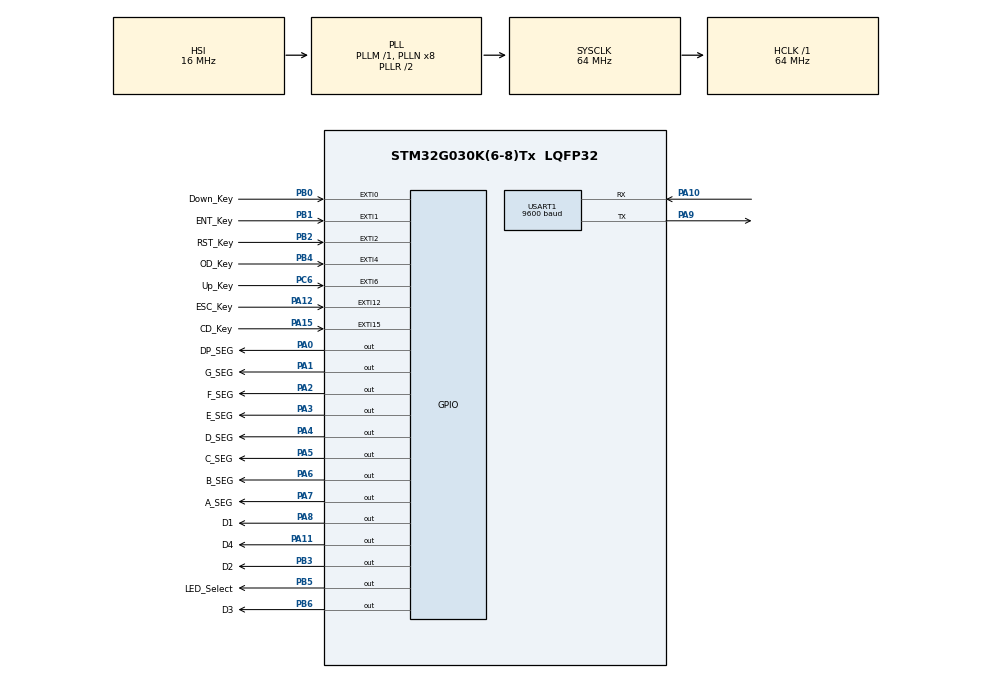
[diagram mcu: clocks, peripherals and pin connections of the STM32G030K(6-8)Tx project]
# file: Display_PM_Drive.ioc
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Mcu.Family=STM32G0
Mcu.Name=STM32G030K(6-8)Tx
Mcu.Package=LQFP32
NVIC.EXTI0_1_IRQn=true\:1\:0\:true\:false\:true\:true\:true\:true
NVIC.EXTI2_3_IRQn=true\:1\:0\:true\:false\:true\:true\:true\:true
NVIC.EXTI4_15_IRQn=true\:1\:0\:true\:false\:true\:true\:true\:true
NVIC.TIM14_IRQn=true\:0\:0\:false\:false\:true\:true\:true\:true
NVIC.TIM1_BRK_UP_TRG_COM_IRQn=true\:1\:0\:true\:false\:true\:true\:true\:true
NVIC.USART1_IRQn=true\:0\:0\:false\:false\:true\:true\:true\:true
PA0.GPIO_Label=DP_SEG
PA0.Signal=GPIO_Output
PA1.GPIO_Label=G_SEG
PA1.Signal=GPIO_Output
PA10.Mode=Asynchronous
PA10.Signal=USART1_RX
PA11\ [PA9].GPIO_Label=D4
PA11\ [PA9].Signal=GPIO_Output
PA12\ [PA10].GPIO_Label=ESC_Key
PA12\ [PA10].GPIO_ModeDefaultEXTI=GPIO_MODE_IT_FALLING
PA12\ [PA10].Signal=GPXTI12
PA13.Mode=Serial_Wire
PA13.Signal=SYS_SWDIO
PA14-BOOT0.Mode=Serial_Wire
PA14-BOOT0.Signal=SYS_SWCLK
PA15.GPIO_Label=CD_Key
PA15.GPIO_ModeDefaultEXTI=GPIO_MODE_IT_FALLING
PA15.GPIO_PuPd=GPIO_PULLUP
PA15.Signal=GPXTI15
PA2.GPIO_Label=F_SEG
PA2.Signal=GPIO_Output
PA3.GPIO_Label=E_SEG
PA3.Signal=GPIO_Output
PA4.GPIO_Label=D_SEG
PA4.Signal=GPIO_Output
PA5.GPIO_Label=C_SEG
PA5.Signal=GPIO_Output
PA6.GPIO_Label=B_SEG
PA6.Signal=GPIO_Output
PA7.GPIO_Label=A_SEG
PA7.GPIO_ModeDefaultOutputPP=GPIO_MODE_OUTPUT_OD
PA7.GPIO_PuPd=GPIO_NOPULL
PA7.GPIO_Speed=GPIO_SPEED_FREQ_HIGH
PA7.Signal=GPIO_Output
PA8.GPIO_Label=D1
PA8.Signal=GPIO_Output
PA9.Mode=Asynchronous
PA9.Signal=USART1_TX
PB0.GPIO_Label=Down_Key
PB0.GPIO_ModeDefaultEXTI=GPIO_MODE_IT_FALLING
PB0.Signal=GPXTI0
PB1.GPIO_Label=ENT_Key
PB1.GPIO_ModeDefaultEXTI=GPIO_MODE_IT_FALLING
PB1.Signal=GPXTI1
PB2.GPIO_Label=RST_Key
PB2.GPIO_ModeDefaultEXTI=GPIO_MODE_IT_FALLING
PB2.Signal=GPXTI2
PB3.GPIO_Label=D2
PB3.Signal=GPIO_Output
PB4.GPIO_Label=OD_Key
PB4.GPIO_ModeDefaultEXTI=GPIO_MODE_IT_FALLING
PB4.GPIO_PuPd=GPIO_PULLUP
PB4.Signal=GPXTI4
PB5.GPIO_Label=LED_Select
PB5.Signal=GPIO_Output
PB6.GPIO_Label=D3
PB6.Signal=GPIO_Output
PB8.Signal=I2C1_SCL
PC6.GPIO_Label=Up_Key
PC6.GPIO_ModeDefaultEXTI=GPIO_MODE_IT_FALLING
PC6.GPIO_PuPd=GPIO_PULLUP
PC6.Signal=GPXTI6
ProjectManager.HeapSize=0x200
ProjectManager.StackSize=0x400
ProjectManager.TargetToolchain=MDK-ARM V5.32
RCC.ADCFreq_Value=64000000
RCC.AHBFreq_Value=64000000
RCC.CortexFreq_Value=64000000
RCC.EXTERNAL_CLOCK_VALUE=12288000
RCC.HCLKFreq_Value=64000000
RCC.HSE_VALUE=8000000
RCC.HSI_VALUE=16000000
RCC.LSE_VALUE=32768
RCC.SYSCLKFreq_VALUE=64000000
RCC.SYSCLKSource=RCC_SYSCLKSOURCE_PLLCLK
RCC.VCOOutputFreq_Value=128000000
TIM1.AutoReloadPreload=TIM_AUTORELOAD_PRELOAD_ENABLE
TIM1.Period=6399
TIM1.Prescaler=999
TIM14.AutoReloadPreload=TIM_AUTORELOAD_PRELOAD_ENABLE
TIM14.Period=6399
TIM14.Prescaler=999
USART1.BaudRate=9600
USART1.Parity=PARITY_NONE
USART1.VirtualMode-Asynchronous=VM_ASYNC
VP_TIM14_VS_ClockSourceINT.Mode=Enable_Timer
VP_TIM1_VS_ClockSourceINT.Mode=Internal
board=custom

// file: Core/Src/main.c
/* USER CODE BEGIN Header */
/**
  ******************************************************************************
  * @file           : main.c
  * @brief          : Main program body
  ******************************************************************************
  * @attention
  *
  * Copyright (c) 2024 STMicroelectronics.
  * All rights reserved.
  *
  * This software is licensed under terms that can be found in the LICENSE file
  * in the root directory of this software component.
  * If no LICENSE file comes with this software, it is provided AS-IS.
  *
  ******************************************************************************
  */
/* USER CODE END Header */
#include "main.h"

/* USER CODE BEGIN Includes */
#include "stm32G0xx_hal_gpio.h"
#include "Display.h"
#include "Store_Flash.h"
#include "Menu.h"

#define Lock_ADV 200                  				// Lock time is according to Timer 100ms : Ex: 150*100ms= 15000ms = 15s
#define Enter_Manual_Time 30          				// Entering manual mode or tuning mode is deppended on the Timer 100ms : Ex: 30*100ms= 3000ms = 3s
#define Back_To_First_After_Time 100  				// Entering manual mode or tuning mode is deppended on the Timer 100ms : Ex: 100*100ms= 10000ms = 3s
#define RST_Time 30
extern uint8_t Number_OF_Settings;
//---------------------------------- Reserve in Flash
extern uint8_t Byte_1_Device_Mode;
//----------------------------------
extern char Default_Flash_Array[255];					 // Coefficients for Defualt : when you program your device for the first, we would have 'Default_Flash_Array' coefficients on RAM and FLASH
char Commercial_Flash_Array[255];    				   // Coefficients for Commercial
char Household_Flash_Array[255];     					 // Coefficients for Household
char Office_Flash_Array[255]={0x01};  				 // Coefficients for Office
//bool Reset_To_Default_Value=0;

bool Reset_To_Default_Value=0;
//-------------------------------------------------------
//----------------------------- Reserve in Flash
//-------------------------------------------------------
#define Byte_1_Setup 0xFF                       // ItТs an address in RAM, and it is used to set up the device.
uint8_t Byte_1_Manual_Mode=0xFE;						    // It's a setting address for Manual mode
#define Byte_1_OK_Received 0xFD							    // It's a setting receving aknowledge
#define Byte_1_Receive_Data_Main_Board 0xFC     // It's a setting address for receving Data through mainboard
#define Byte_1_Reset_LCD 0xFB                   // It's a setting address for Reset LCD
//-------------------------------------------------------
//----------------------------- Read/Write Flash Variable
//-------------------------------------------------------
uint32_t addr = FLASH_USER_START_ADDR;          // Start address in flash memory :It's for storagind coefficients
char Read_Array_Flash[255];											// It's coefficients array
uint8_t Array_Flash_Counter=0;									// It's for counting coefficient's index
//-------------------------------------------------------
//----------------------------- UART Variables
//-------------------------------------------------------
uint8_t byte;
#define  Length_Frame 11
char buffer[Length_Frame];                 			//It's for printf Function in UART.
uint8_t  arr_frame[Length_Frame];							  //This array use for Storge valid bytes that sent from master device.
int  frame_counter=0;						           			//It's for counting bytes received from UART that they are valid for making Frame.
bool block_Counter_frame=0;			           		  //It's for checking start of frame "0xAA";
int  clear_counter_Frame=0;                     //It's for clearing "arr_frame";
uint8_t Value_Res1;                             //This variable is used for sending data on UART
uint8_t Byte_1_Start_Frame=0xAA;                //Setting Byte: Start Frame 1
uint8_t Byte_2_Start_Frame=0xBB;                //Setting Byte: Start Frame 2
uint8_t Byte_1_END_Frame=0xEE;               	  //Setting Byte: End Frame 1
uint8_t Byte_2_END_Frame=0xFF;                	//Setting Byte: End Frame 2
uint8_t Byte_1_Read_Frame=0xCC;                 //Setting Byte: Read Frame
uint8_t Byte_1_Write_Frame=0xDD;                //Setting Byte: Write Frame
bool Serial_Available=0;									      //show UART is available or not
bool Serial_Repeat=0;											      //It's a Flag for Enabling repeat_serial
uint8_t  Seial_Repeat_arr_frame[Length_Frame];	//repeat's fream
bool Repeat_Time=0;															//It's for controling time of blinking
uint8_t Number_Repeat_Serial=0;                 //Number of repeat for sending frame
bool Lock_System=0;															//Arrow keys would be out of reach when this variable set 1
bool Transmision_Flag=0;												//This variable use for blocking sending Data

uint8_t Counter_Reset_system=9;									//Reset system after 9 second
uint8_t Counter_Devide_10=0;                     // It is used to divide time in the timer loop.

uint8_t Repeat_time_Serial=0;
//-------------------------------------------------------
//----------------------------- Keys&Menu Variable
//-------------------------------------------------------
Menu_HandleTypeDef PM_Menu;
uint8_t Menu_ESC=0;															// It would be 1 if we press ESC
uint8_t Menu_ENT=0;															// It would be 1 if we press ENT
uint8_t Menu_Down=0;														// It would be 1 if we press Down
uint8_t Menu_Up=0;															// It would be 1 if we press Up
uint8_t Menu_Reset=0;														// It would be 1 if we press Reset
extern int Value;																// It's for showing value on LCD or deciding about settings
int Fault_Vector=0;															// Reserve
bool Menu_CD=0;																	// It would be 1 if we press CD Key
bool Menu_OD=0;																	// It would be 1 if we press OD Key
int Counter_CD_Key=0;														// It whould be increase when you press and hold "CD Key"
int Counter_OD_Key=0;														// It whould be increase when you press and hold "CD Key"
int Counter_ENT_Key=0;													// It whould be increase when you press and hold "ENT Key"
int Counter_RST_Key=0;													// It whould be increase when you press and hold "RST Key"
bool Manual_mode=0;															// It whould be one when you enter manual mode
uint8_t Counter_UP_Key=0;												// It whould be increase when you press and hold "UP Key"
uint8_t Counter_Down_Key=0;											// It whould be increase when you press "Down Key"
uint8_t Counter_ESC_Key=0;											// It whould be increase when you press and hold "ESC Key"
uint8_t Step_Speed=0;														// It whould be increase when you press and hold on a key : we have 3 steps for increasing count's speed
uint8_t Counter_Change_Value=0;                 // It is used for changing Steps when we press up or down keys and hold on
uint8_t Counter_Key_Hold=0;											// It is used for calculating time when we press Up or down key and hold on
bool Lock_Counter_Key=1;												// Changing the count's speed and changing steps would be locked if this flag set to 1
extern bool Reset_Menu;													// We can reset everything in the menu if this flag set to 1
bool Lock_LCD=0;																// Nothing shows on the LCD if this flag is set to 1
bool Flag_OK_Setup=0;														// It would be 1 if the flash is set up
//-------------------------------------------------------
//----------------------------- Save Process Variables
//-------------------------------------------------------
bool Toggle_Sevensegment=0;										  // This variable is used for toggle LED segments when we are in save mode.
uint8_t Counter_Toggle_Sevensegment=0; 				  // We can control blinking time with this counter
extern uint8_t setting; 						  					// Coefficient array's Index
//-------------------------------------------------------
//----------------------------- Check Manual mode Variables
//-------------------------------------------------------
uint8_t Counter_Back_to_Norm=0;                 // When we are in advanced mode and we don't press any key, the menu would back to first menu after "Back_To_First_After_Time" time
bool Tune_Mode=0;                               // It would be 1 if tune mode is enabled
uint8_t Byte_1_OD_Mode=0x01;										// It's a special value when we are in manual mode if you want to have more information, please refer to the protocols document
uint8_t Byte_1_CD_Mode=0x02;										// It's a special value when we are in manual mode if you want to have more information, please refer to the protocols document
uint8_t Byte_1_Tune_Mode=0x03;									// It's a special value when we are in manual mode if you want to have more information, please refer to the protocols document
uint8_t Byte_1_Normal_Mode=0x04;								// It's a special value when we are in manual mode if you want to have more information, please refer to the protocols document
bool Flag_Show_Auto=0;													// When you press the ESC key when you are in manual mode, the device exit manual mode and show "Auto" on seven-segment.
bool Flag_Show_OD=0;                            // When you press the OD key, 'OD' shows on the seven-segment display, and we enter manual mode.
bool Flag_Show_CD=0;														// When you press the CD key, 'OD' shows on the seven-segment display, and we enter manual mode.
uint8_t Counter_Auto_Show=0;										// It's a counter for showing "Auto" on seven-segment when we press ESC key
//-------------------------------------------------------
//----------------------------- Password Variable
//-------------------------------------------------------
extern bool check_Pass;													// It's a flag for validating the password
uint8_t Counter_Lock_Pass=0;										// Advance would be lock after a special time
bool Flag_Lock_Pass_Show=0;                     // It's a flag for locking the advanced mode
//-------------------------------------------------------
//----------------------------- Screen saver Variable
//-------------------------------------------------------
#define Travel_Byte_1_main 0x55                 // Setting Byte: For illustrating the Travel state on LCD, the main board has to send this value as a setting
#define Fault_Byte_1_main 0x77									// Setting Byte: For illustrating the Fault state on LCD, the main board has to send this value as a setting
char Show_Variable[4];													// Illustrating values on screen saver when value are sended through mainborad
bool Flag_Screen_Saver=0;												// It's a flag for enabeling sacreen saver
uint8_t Screen_Number=0;												// It's a value for selecting travel state or fault state that recieved through mainboard
uint8_t Counter_Time_Screen_Saver=0;						// It's a time counter for sceern saver: It would be 0 if we push keys
bool Flag_Repeat_Off=0;													// Sending repeat data would be off if this flag set to 1
//-------------------------------------------------------
//----------------------------- Wating
//-------------------------------------------------------
bool Flag_System_Waitng=0;                      // when system  has a special duty at the moment like sending frame or receiving frame, this flag would be 1
bool Flag_Load_Data=0;
uint8_t Counter_Wating=0;                       // ItТs used to calculate the time needed to return to normal mode.
uint8_t Counter_Wating_Show=0;                  /* When the device connects to the mainboard, the mainboard starts sending data to provide coefficients.
																									 At this time, the device enters waiting mode to respond to each request. The waiting time is calculated
																									 through 'Counter_Waiting_Show'. Additionally, we have five LEDs to indicate the loading of all data on
																									 the mainboard. These LEDs will turn on after a specific time, which is determined by 'Counter_Waiting_Show'. */
//-------------------------------------------------------
//----------------------------- CRC Variable
//-------------------------------------------------------
uint8_t CRC_Value;                              //CRC= summation(All Coefficient)%97
/* USER CODE END Includes */

TIM_HandleTypeDef htim1;
TIM_HandleTypeDef htim14;

UART_HandleTypeDef huart1;

void SystemClock_Config(void);
static void MX_GPIO_Init(void);
static void MX_TIM1_Init(void);
static void MX_USART1_UART_Init(void);
static void MX_TIM14_Init(void);
/* USER CODE BEGIN PFP */
//------------------------------------------------------------------------------------------ Welcome
void Welcome_Seg(void){
	uint8_t Delay_welcome=50;
	Select_Segment(1);
	Show_Segment('a');
	HAL_Delay(Delay_welcome);
	Select_Segment(2);
	Show_Segment('a');
	HAL_Delay(Delay_welcome);
	Select_Segment(3);
	Show_Segment('a');
	HAL_Delay(Delay_welcome);
	Select_Segment(4);
	Show_Segment('a');
	HAL_Delay(Delay_welcome);
	Select_Segment(4);
	Show_Segment('b');
	HAL_Delay(Delay_welcome);
	Select_Segment(4);
	Show_Segment('c');
	HAL_Delay(Delay_welcome);
	Select_Segment(4);
	Show_Segment('d');
	HAL_Delay(Delay_welcome);
	Select_Segment(3);
	Show_Segment('d');
	HAL_Delay(Delay_welcome);
	Select_Segment(2);
	Show_Segment('d');
	HAL_Delay(Delay_welcome);
	Select_Segment(1);
	Show_Segment('d');
	HAL_Delay(Delay_welcome);
	Select_Segment(1);
	Show_Segment('e');
	HAL_Delay(Delay_welcome);
	Select_Segment(1);
	Show_Segment('f');
	HAL_Delay(Delay_welcome);
}
//------------------------------------------------------------------------------------------ UART Response
void Response_Input_Data(char byte_0){
	arr_frame[5]=0x00;   //Bit0 Response Value
	Value_Res1=byte_0;
	arr_frame[6]=Value_Res1; //Bit1 Response Value
	HAL_UART_Transmit(&huart1, arr_frame, sizeof(arr_frame), 10);
}
//------------------------------------------------------------------------------------------ TIMER
void HAL_TIM_PeriodElapsedCallback(TIM_HandleTypeDef *htim)
{
	if (htim==&htim14) //100ms
  {
			if(Counter_Toggle_Sevensegment>1){ //It is for controling speed of blinking : 200 ms
				if(Flag_System_Waitng==1){
					//Counter_Wating_Show=Counter_Wating_Show+1;
				}
				Toggle_Sevensegment=!Toggle_Sevensegment;
				Counter_Toggle_Sevensegment=0;
			}
			Counter_Toggle_Sevensegment=Counter_Toggle_Sevensegment+1;
	}
	if (htim==&htim1) //100ms
  {
		//-------------------------------------------------------- Change Value when we press up key and hold on
		if(HAL_GPIO_ReadPin(Up_Key_GPIO_Port,Up_Key_Pin)==0){

			Counter_Change_Value=Counter_Change_Value+1;
			if(Lock_Counter_Key==0){
				Counter_Key_Hold=Counter_Key_Hold+1;
			}
			if(Counter_Key_Hold>=25 && Step_Speed==0){ //It would be faster after 2.5 second
				Counter_Key_Hold=0;
				Step_Speed=Step_Speed+1;
				Counter_Change_Value=0;
			}
			else if(Counter_Key_Hold>=25 && Step_Speed==1){ //It would be faster after +2.5 second
				Step_Speed=Step_Speed+1;
				Lock_Counter_Key=1;
				Counter_Change_Value=0;
			}
			if(Step_Speed==0 && Counter_Change_Value>=4){ //The Value would be change in each 1 second
					Change_Value_Conditions_Up_Key(&PM_Menu);
					Counter_Change_Value=0;
			}
			else if(Step_Speed==1 && Counter_Change_Value>=2){ //The Value would be change in each 0.2 second
					Change_Value_Conditions_Up_Key(&PM_Menu);
					Counter_Change_Value=0;
			}
			else if(Step_Speed==2 && Counter_Change_Value>=1){ //The Value would be change in each 0.1 second
					Change_Value_Conditions_Up_Key(&PM_Menu);
					Counter_Change_Value=0;
			}
		}
		//-------------------------------------------------------- Change Value when we press up key and hold on
		else if(HAL_GPIO_ReadPin(Down_Key_GPIO_Port,Down_Key_Pin)==0){

			Counter_Change_Value=Counter_Change_Value+1;
			if(Lock_Counter_Key==0){
				Counter_Key_Hold=Counter_Key_Hold+1;
			}
			if(Counter_Key_Hold>=25 && Step_Speed==0){ //It would be faster after 2.5 second
				Counter_Key_Hold=0;
				Step_Speed=Step_Speed+1;
				Counter_Change_Value=0;
			}
			else if(Counter_Key_Hold>=25 && Step_Speed==1){ //It would be faster after +2.5 second
				Step_Speed=Step_Speed+1;
				Lock_Counter_Key=1;
				Counter_Change_Value=0;
			}
			if(Step_Speed==0 && Counter_Change_Value>=4 && Value>>0){ //The Value would be change in each 0.4 second
					Change_Value_Conditions_Down_Key(&PM_Menu);
					Counter_Change_Value=0;
			}
			else if(Step_Speed==1 && Counter_Change_Value>=2 && Value>>0){ //The Value would be change in each 0.2 second
					Change_Value_Conditions_Down_Key(&PM_Menu);
					Counter_Change_Value=0;
			}
			else if(Step_Speed==2 && Counter_Change_Value>=1 && Value>>0){ //The Value would be change in each 0.1 second
					Change_Value_Conditions_Down_Key(&PM_Menu);
					Counter_Change_Value=0;
			}
		}
		else if(HAL_GPIO_ReadPin(Up_Key_GPIO_Port,Up_Key_Pin)==1 && HAL_GPIO_ReadPin(Down_Key_GPIO_Port,Down_Key_Pin)==1){
			Step_Speed=0;
			Counter_Change_Value=0;
			Lock_Counter_Key=0;
			Counter_Key_Hold=0;
		}
		//---------------------------------------------------- Time for Repeating serial's data : Repeat data after 500 milisecound
		if(Serial_Repeat==1){
				Repeat_time_Serial=Repeat_time_Serial+1;
				if(Repeat_time_Serial==5){
					Repeat_Time=1;
					Repeat_time_Serial=0;
				}
			}
		//---------------------------------------------------- Read ESC Key
		if(HAL_GPIO_ReadPin(ESC_Key_GPIO_Port,ESC_Key_Pin)==0){
			Counter_ESC_Key=Counter_ESC_Key+1;
			if(Counter_ESC_Key>=Enter_Manual_Time){
				Counter_ESC_Key=Enter_Manual_Time;
			}
		}
		else{
			Counter_ESC_Key=0;
		}
		//---------------------------------------------------- Read UP Key
		if(HAL_GPIO_ReadPin(Up_Key_GPIO_Port,Up_Key_Pin)==0){
			Flag_Screen_Saver=0;
			Counter_Time_Screen_Saver=0;
			Counter_UP_Key=Counter_UP_Key+1;
				if(Counter_UP_Key>=Enter_Manual_Time){
				Counter_UP_Key=Enter_Manual_Time;
			}
		}
		else{
			Counter_UP_Key=0;
		}
		//---------------------------------------------------- Read Down Key
		if(HAL_GPIO_ReadPin(Down_Key_GPIO_Port,Down_Key_Pin)==0){
			Flag_Screen_Saver=0;
			Counter_Time_Screen_Saver=0;
			Counter_Lock_Pass=0;
			Counter_Down_Key=Counter_Down_Key+1;
			if(Counter_Down_Key>=Enter_Manual_Time){
				Counter_Down_Key=Enter_Manual_Time;
			}
		}
		else{
			Counter_Down_Key=0;
		}
		//---------------------------------------------------- Read CD Key
		if(HAL_GPIO_ReadPin(CD_Key_GPIO_Port,CD_Key_Pin)==0){
			Counter_CD_Key=Counter_CD_Key+1;
			if(Counter_CD_Key>=Enter_Manual_Time){
				Counter_CD_Key=Enter_Manual_Time;
			}
		}
		else{
			Counter_CD_Key=0;
		}

		//---------------------------------------------------- Read OD Key
		if(HAL_GPIO_ReadPin(OD_Key_GPIO_Port,OD_Key_Pin)==0){
			Counter_OD_Key=Counter_OD_Key+1;
				if(Counter_OD_Key>=Enter_Manual_Time){
				Counter_OD_Key=Enter_Manual_Time;
			}
		}
		else{
			Counter_OD_Key=0;
		}

		//---------------------------------------------------- Read ENT Key
		if(HAL_GPIO_ReadPin(ENT_Key_GPIO_Port,ENT_Key_Pin)==0){
			Counter_ENT_Key=Counter_ENT_Key+1;
				if(Counter_ENT_Key>=Enter_Manual_Time){
				Counter_ENT_Key=Enter_Manual_Time;
			}
		}
		else{
			Counter_ENT_Key=0;
		}
		//---------------------------------------------------- Read Reset Key
		if(HAL_GPIO_ReadPin(RST_Key_GPIO_Port,RST_Key_Pin)==0){
			Counter_RST_Key=Counter_RST_Key+1;
			if(Counter_RST_Key>=RST_Time){
				Counter_RST_Key=RST_Time;
				//Read_Array_Flash[0]=0x00;
				Reset_To_Default_Value=1;
			}
		}
		else{
			Counter_RST_Key=0;
		}
		//--------------------------- If ADV 1 or ADV 2 was unlocked, it would be lock after "Lock_ADV" time
		if(check_Pass==1){
			Counter_Lock_Pass=Counter_Lock_Pass+1;
			if(Counter_Lock_Pass==Lock_ADV){
				Flag_Lock_Pass_Show=1;
				check_Pass=0;
				Counter_Lock_Pass=0;
				Reset_Menu=1;
				//Flag_Screen_Saver=1;
			}
		}
		//---------------------------------------------------- Back to Screen Saver Mode
		if(Flag_Screen_Saver==0){
			if(Manual_mode==0){
				Counter_Time_Screen_Saver=Counter_Time_Screen_Saver+1;
			}
		}
		if(Counter_Time_Screen_Saver>=Back_To_First_After_Time){
			//Reset_Menu=1;
			//Flag_Show_Auto=1;
			Flag_Screen_Saver=1;
			Counter_Time_Screen_Saver=0;
		}
		//---------------------------------------------------- Back to Normal Mode
		if(Manual_mode==0 && Counter_Back_to_Norm>=Back_To_First_After_Time){
			Lock_LCD=0;
			Manual_mode=0;
			Counter_Back_to_Norm=0;
			Reset_Menu=1;
			Flag_Screen_Saver=1;
			Counter_Back_to_Norm=Counter_Back_to_Norm+1;
		}
		/*else if(Manual_mode==1){
			Counter_Back_to_Norm=Counter_Back_to_Norm+1;
		}*/
		//---------------------------------------------------- Reset systeam after a special time
		if(Lock_System==1){
			Counter_Devide_10=Counter_Devide_10+1;
			if(Counter_Devide_10>=10){
				Counter_Devide_10=0;
				Counter_Reset_system=Counter_Reset_system-1;
			}
		}
		//---------------------------------------------------- Wating for filling coefficient
		if(Flag_System_Waitng==1){
			Counter_Wating=Counter_Wating+1;
			if(Counter_Wating>=10){
				LED_Control(1,0);
				LED_Control(2,0);
				LED_Control(3,0);
				LED_Control(4,0);
				LED_Control(5,0);
				Counter_Wating_Show=0;
				Flag_System_Waitng=0;
				Counter_Wating=0;
				Flag_Screen_Saver=1;
			}
		}
		//----------------------------------------------- Repeat data if we dont have reponse from main board when we have a change in the menu

	}
}

//------------------------------------------------------------------------------------------ Receive UART1 and making Frame
void HAL_UART_RxCpltCallback(UART_HandleTypeDef *huart)
{
	if (huart == &huart1) {
		Serial_Available=1;
		//------------------------------------------- Make frame
		if(block_Counter_frame==1 && frame_counter<Length_Frame){
			arr_frame[frame_counter]=byte;
			frame_counter=frame_counter+1;
		}
		else if(byte==0xAA){
			memset(arr_frame,0,sizeof(arr_frame));
			block_Counter_frame=1;
			frame_counter=0;
			arr_frame[frame_counter]=byte;
			frame_counter=frame_counter+1;
			//free(arr_frame);
			//arr_dynamic = calloc(elements, sizeof(int)); //Array with 2 integer blocks
		}
		HAL_UART_Receive_IT(&huart1, &byte, 1);
	}
}
//------------------------------------------------------------------------------------------ EXTERNAL INTERUPT KEY
void HAL_GPIO_EXTI_Falling_Callback(uint16_t GPIO_Pin)
{
		Counter_Lock_Pass=0;
		if(Flag_Show_Auto==0 && Flag_System_Waitng==0 && Tune_Mode==0 ){
			if(Flag_Screen_Saver==0){
				if(GPIO_Pin== ESC_Key_Pin)
						Menu_ESC= !(HAL_GPIO_ReadPin(ESC_Key_GPIO_Port,ESC_Key_Pin));
				if(Flag_Show_CD==0 && Flag_Show_OD==0){
					if(GPIO_Pin== ENT_Key_Pin)
							Menu_ENT= !(HAL_GPIO_ReadPin(ENT_Key_GPIO_Port,ENT_Key_Pin));
					if(GPIO_Pin== Down_Key_Pin)
							Menu_Down= !(HAL_GPIO_ReadPin(Down_Key_GPIO_Port,Down_Key_Pin));
					if(GPIO_Pin== Up_Key_Pin)
							Menu_Up= !(HAL_GPIO_ReadPin(Up_Key_GPIO_Port,Up_Key_Pin));
				}
			}
		}
		if(GPIO_Pin== CD_Key_Pin)
				Menu_CD= !(HAL_GPIO_ReadPin(CD_Key_GPIO_Port,CD_Key_Pin));
		if(GPIO_Pin== OD_Key_Pin)
				Menu_OD= !(HAL_GPIO_ReadPin(OD_Key_GPIO_Port,OD_Key_Pin));
		if(GPIO_Pin==RST_Key_Pin)
				Menu_Reset= !(HAL_GPIO_ReadPin(RST_Key_GPIO_Port,RST_Key_Pin));

		Counter_Time_Screen_Saver=0;
		Flag_Screen_Saver=0;

		if(Lock_System==0 && Flag_System_Waitng==0 && Menu_CD==1 && Flag_OK_Setup==1){
			Manual_mode=1;
			Storage_Data_On_Mainboard(Byte_1_CD_Mode,Byte_1_Manual_Mode);
			Menu_CD=0;
			Flag_Show_OD=0;
			Flag_Show_CD=1;
			Counter_Auto_Show=0;
			Flag_Show_Auto=0;
		}
		if(Lock_System==0 && Flag_System_Waitng==0 && Menu_OD==1 && Flag_OK_Setup==1){
			Manual_mode=1;
			Storage_Data_On_Mainboard(Byte_1_OD_Mode,Byte_1_Manual_Mode);
			Menu_OD=0;
			Flag_Show_OD=1;
			Flag_Show_CD=0;
			Counter_Auto_Show=0;
			Flag_Show_Auto=0;
		}
}

/* USER CODE END PFP */

int main(void)
{

  /* MCU Configuration--------------------------------------------------------*/

  /* Reset of all peripherals, Initializes the Flash interface and the Systick. */
  HAL_Init();

  /* Configure the system clock */
  SystemClock_Config();

  /* Initialize all configured peripherals */
  MX_GPIO_Init();
  MX_TIM1_Init();
  MX_USART1_UART_Init();
  MX_TIM14_Init();

  /* Infinite loop */
  /* USER CODE BEGIN WHILE */
	HAL_TIM_Base_Start_IT(&htim1);
	HAL_TIM_Base_Start_IT(&htim14);

	HAL_UART_Receive_IT(&huart1, &byte, 1);

	Welcome_Seg();

	Manage_Memory(Default_Flash_Array,0);
	Manage_Memory(Commercial_Flash_Array,1);
	Manage_Memory(Household_Flash_Array	,2);
	Manage_Memory(Office_Flash_Array,3);

	//------------------------------- Reading Flash and filling coefficient array
	while(1) {
		int32_t data = readFlash(addr);
		if(data == -1) {
			break;
		}
		Read_Array_Flash[Array_Flash_Counter]=data-1;
		Array_Flash_Counter=Array_Flash_Counter+1;
		addr += 8;
	}

	if(Read_Array_Flash[0]==0x00){
		Setup_Flash();
		//Read_Flash=1;
		HAL_NVIC_SystemReset();
	}

	if(Counter_ESC_Key!=0 && Counter_ENT_Key!=0){
		Tune_Mode=1;
	}

	HAL_Delay(100);
	Storage_Data_On_Mainboard(0x00,Byte_1_Setup);
	Array_Flash_Counter=0x00;
	HAL_Delay(100);

	if(Read_Array_Flash[6]==1 || Tune_Mode==1){
		setting=6;
		Tune_Mode=1;
		Read_Array_Flash[6]=Tune_Mode;
		Erase_Flash(FLASH_USER_START_ADDR,ADDR_FLASH_PAGE_BASE);
		incriment_array(1,sizeof(Read_Array_Flash),Read_Array_Flash);
		writeFlash(FLASH_USER_START_ADDR, Read_Array_Flash);
		incriment_array(-1,sizeof(Read_Array_Flash),Read_Array_Flash);
		Storage_Data_On_Mainboard(Tune_Mode,setting);
		setting=0;
	}

	Flag_Screen_Saver=1;
	Screen_Number=0;
	Flag_OK_Setup=1;
	//CRC_Value=Calculate_CRC();

  while (1)
  {

		if(Serial_Repeat==1 && Repeat_Time==1 && Lock_System==0){
			HAL_UART_Transmit(&huart1, Seial_Repeat_arr_frame, sizeof(Seial_Repeat_arr_frame), 1000);
			Number_Repeat_Serial=Number_Repeat_Serial+1;
			Repeat_Time=0;
		}
		//------------------------------- It's for illustrating Lock ("....") on the seven segment
		if(Flag_Lock_Pass_Show==1){
			Flag_Screen_Saver=0;
			Display("....","12345","0000");
			Counter_Lock_Pass=Counter_Lock_Pass+1;
			if(Counter_Lock_Pass>=200){
				Counter_Lock_Pass=0;
				Flag_Lock_Pass_Show=0;
				Flag_Screen_Saver=1;
			}
		}
		//------------------------------- It's for illustrating "AUTO" on the seven segment
		else if(Lock_System==0 && Flag_Show_Auto==1 && Flag_System_Waitng==0){
			Display("AUTO","12345","1111");
			Counter_Auto_Show=Counter_Auto_Show+1;
			if(Counter_Auto_Show>=200){
				Counter_Auto_Show=0;
				Flag_Show_Auto=0;
			}
		}

		//------------------------------- Check Input Frame and Response
		if(Serial_Available){
			Serial_Available=0;
			//----------------------------------------------- Check Input Frame and Response
			if(arr_frame[0]==Byte_1_Start_Frame && arr_frame[1]==Byte_2_Start_Frame  //Start Frames
				&& arr_frame[2]==Byte_1_Read_Frame 																		 //Type of Inputs
				&& arr_frame[9]==Byte_1_END_Frame && arr_frame[10]==Byte_2_END_Frame   //End Frames
			  && frame_counter==Length_Frame)                                        //Length of Inputs
			  {
				block_Counter_frame=0;
				//--------------------------------------------------------------------------------------------------------------------------------------
				arr_frame[2]=Byte_1_Write_Frame;                                //Set the UART to response mode
				if(arr_frame[4]>=0x01 && arr_frame[4]<=Number_OF_Settings){     //Just answer to Setting values ==> we have 107 settings on our device
					Response_Input_Data(Read_Array_Flash[arr_frame[4]]);
					Flag_System_Waitng=1;
					Counter_Wating=0;
					Flag_Screen_Saver=0;
					Serial_Repeat=0;

					if(Flag_Load_Data==0){
						switch(arr_frame[4]){
							case 2:
								Counter_Wating_Show=1;
							break;
							case 30:
								Counter_Wating_Show=2;
							break;
							case 55:
								Counter_Wating_Show=3;
							break;
							case 75:
								Counter_Wating_Show=4;
							break;
							case 107:
								Counter_Wating_Show=5;
								Flag_Load_Data=1;
								Flag_Screen_Saver=1;
								Flag_System_Waitng=0;
							break;
						}
					}
					//if(Tune_Mode==0){

					//}
					Number_Repeat_Serial=0;
				}
				//--------------------------------------------------------------------------------------------------------------------------------------
				if(arr_frame[4]==Byte_1_Receive_Data_Main_Board){             //It's for illustrating status of the main bord
					if(arr_frame[5]==Travel_Byte_1_main){
						switch(arr_frame[6]){
							case 0x00:
								Screen_Number=1; //Idle
							break;
							case 0x01:
								Screen_Number=2; //Stop
							break;
							case 0x02:
								Screen_Number=3; //Slow Close
							break;
							case 0x04:
								Screen_Number=4; //Opening
							break;
							case 0x08:
								Screen_Number=5; //Opened
							break;
							case 0x10:
								Screen_Number=6; //Closing
							break;
							case 0x20:
								Screen_Number=7; //Closed
							break;
							case 0x44:
								Screen_Number=8; //Opening(KP)
							break;
							case 0x48:
								Screen_Number=9; //Opened(KP)
							break;
							default:
									Screen_Number=26;
							break;
						}
					}

					else if(arr_frame[5]==Fault_Byte_1_main){
						switch(arr_frame[6]){
							case 0x01:
								Screen_Number=20; //Short Circuit
							break;
							case 0x02:
								Screen_Number=21; //Over Voltage
							break;
							case 0x04:
								Screen_Number=22; //Over Load
							break;
							case 0x08:
								Screen_Number=23; //Over Heat
							break;
							case 0x10:
								Screen_Number=24; //DC Link
							break;
							case 0x20:
								Screen_Number=25; //Encoder
							break;
							default:
								Screen_Number=26; //Value
								memset(Show_Variable,0,sizeof(Show_Variable));
								Show_Variable[0]=arr_frame[6];
							break;
						}
					}
					if(Transmision_Flag==0){
						Flag_Repeat_Off=1;
						Storage_Data_On_Mainboard(0x00,Byte_1_OK_Received);
					}
				}
				//--------------------------------------------------------------------------------------------------------------------------------------
				else if(arr_frame[4]==Byte_1_OK_Received){                          //It's a Respose from main board
					memset(Seial_Repeat_arr_frame,32,sizeof(Seial_Repeat_arr_frame));
					Serial_Repeat=0;
					Repeat_Time=0;
					Number_Repeat_Serial=0;
					Transmision_Flag=0;
					Flag_System_Waitng=0;
				}
				//--------------------------------------------------------------------------------------------------------------------------------------
				else if(arr_frame[4]==Byte_1_Reset_LCD){                            //Reset LCD through main board
					HAL_UART_Receive_IT(&huart1, &byte, 0);
					HAL_NVIC_SystemReset();
					HAL_Delay(1000);
				}
				//--------------------------------------------------------------------------------------------------------------------------------------
				if(arr_frame[3]==0x00 && arr_frame[4]==Byte_1_Manual_Mode && arr_frame[5]==0x00 && arr_frame[6]==Byte_1_Tune_Mode){ // Turn off tune mode
					Tune_Mode=0;
					Lock_LCD=0;
					Flag_Repeat_Off=1;
					Storage_Data_On_Mainboard(0x00,Byte_1_OK_Received);
					Read_Array_Flash[6]=Tune_Mode;
					Erase_Flash(FLASH_USER_START_ADDR,ADDR_FLASH_PAGE_BASE);
					incriment_array(1,sizeof(Read_Array_Flash),Read_Array_Flash);
					writeFlash(FLASH_USER_START_ADDR, Read_Array_Flash);
					incriment_array(-1,sizeof(Read_Array_Flash),Read_Array_Flash);
					Reset_Menu=1;
				}
				//---------------------------
				frame_counter=0;
				memset(arr_frame,0,sizeof(arr_frame));
			}
		} // End of Serial Available

		//--------------------------------------------------------------------------------------------------------------------------------------
		else if(Reset_To_Default_Value==1){
			Erase_Flash(FLASH_USER_START_ADDR,ADDR_FLASH_PAGE_BASE);
			writeFlash(FLASH_USER_START_ADDR, Default_Flash_Array);
			Storage_Data_On_Mainboard(0,Byte_1_Device_Mode);
			HAL_NVIC_SystemReset();
		}
		//--------------------------------------------------------------------------------------------------------------------------------------
		if(Number_Repeat_Serial>=10){ //After 10 tries, the display will notify us that there is a problem with the connection.
			Lock_System=1;
			Flag_System_Waitng=0;
			Display("ERR ","12345","11111");
			//LCD_Puts(0,1,"Reset system:");
			//LCD_Put(Counter_Reset_system+48);
			memset(arr_frame,0,sizeof(arr_frame));
			if(Counter_Reset_system==0){
				HAL_NVIC_SystemReset();
			}
		}
		//--------------------------------------------------------------------------------------------------------------------------------------
		if(Flag_System_Waitng==1){ // It's for loading Data when we start our device: It shows us loading data.
			Select_Segment(5);
			if(Counter_Wating_Show==1){ //
				LED_Control(1,1);
			}
			else if(Counter_Wating_Show==2){//
				LED_Control(1,1);
				LED_Control(2,1);
			}
			else if(Counter_Wating_Show==3){//
				LED_Control(2,1);
				LED_Control(3,1);
			}
			else if(Counter_Wating_Show==4){//
				LED_Control(1,1);
				LED_Control(2,1);
				LED_Control(3,1);
				LED_Control(4,1);
			}
			else if(Counter_Wating_Show==5){//
				LED_Control(1,1);
				LED_Control(2,1);
				LED_Control(3,1);
				LED_Control(4,1);
				LED_Control(5,1);
				Counter_Wating_Show=0;
				Flag_System_Waitng=0;
			}
		}
		//--------------------------------------------------------------------------------------------------------------------------------------
		if(Lock_System==0 && Flag_Show_Auto==0){
			if((Manual_mode==1 && Toggle_Sevensegment==1)||(Tune_Mode==1 && Toggle_Sevensegment==1 && Flag_Load_Data==1 && Flag_System_Waitng==0)){
				Display("    ","12345","00000");
			}
			else if(Tune_Mode==1 && Toggle_Sevensegment==0 && Flag_Load_Data==0 && Flag_System_Waitng==0){
				Display("ERR ","12345","00000");
			}
			else if(Tune_Mode==1 && Toggle_Sevensegment==0 && Flag_Load_Data==1){
				Display("8888","12345","11111");
			}
			else if(Manual_mode==1 && Toggle_Sevensegment==0 && Flag_Show_OD==1){
				Display("OD  ","12345","11111");
			}
			else if(Manual_mode==1 && Toggle_Sevensegment==0 && Flag_Show_CD==1){
				Display("CD  ","12345","11111");
			}
		}
		//--------------------------------------------------------------------------------------------------------------------------------------
		if(Lock_System==0 && Flag_Lock_Pass_Show==0){
			if(Tune_Mode==0){	                           //Device status
				if(Flag_Screen_Saver==1){
					//LCD_Puts(0,0,"Status:         ");
					switch(Screen_Number){
						case 0:
								Display("-AA-","12345","00000");//Get Data
						break;
						case 1:
								Display("-  -","12345","00000");//
						break;
						case 2:
								Display("-ST-","12345","00000");//Stop
						break;
						case 3:
								Display("-  -","12345","00000");//
						break;
						case 4:
								Display("-OP-","12345","00000");//Opening
						break;
						case 5:
								Display("-OP-","12345","00000");//Opened
						break;
						case 6:
								Display("-CL-","12345","00000");//Closing
						break;
						case 7:
								Display("-CL-","12345","00000");//Closed
						break;
						case 8:
								Display("-OB-","12345","00000");//Opening(KP)
						break;
						case 9:
								Display("-OB-","12345","00000");//Opened(KP)
						break;
						//----------------------------------------------------------
						case 20:
							  Display("-  -","12345","00000");//
						break;
						case 21:
								Display("-  -","12345","00000");//
						break;
						case 22:
								Display("-  -","12345","00000");//
						break;
						case 23:
								Display("-  -","12345","00000");//
						break;
						case 24:
								Display("-  -","12345","00000");//
						break;
						case 25:
								Display("-  -","12345","00000");//
						break;
						case 26:
							switch(Show_Variable[0]){// Illustrate Value of the fault
								case 100:
									Display("-E0-","12345","00000");
								break;
								case 101:
									Display("-E1-","12345","00000");
								break;
								case 102:
									Display("-E2-","12345","00000");
								break;
								case 103:
									Display("-E3-","12345","00000");
								break;
								case 104:
									Display("-E4-","12345","00000");
								break;
								case 105:
									Display("-E5-","12345","00000");
								break;
								case 106:
									Display("-E6-","12345","00000");
								break;
								case 107:
									Display("-E7-","12345","00000");
								break;
								case 108:
									Display("-E8-","12345","00000");
								break;
								case 109:
									Display("-E9-","12345","00000");
								break;
								default:
									Display("----","12345","00000");
								break;
							}
						break;
					}
				}
				//----------------------------------------------- Chosing "Menu"
				else if(Flag_Screen_Saver==0 && Flag_Lock_Pass_Show==0 && Flag_System_Waitng==0 && Flag_Show_Auto==0 && Tune_Mode==0){
					if(Manual_mode==0 && Flag_Show_Auto==0){
						Menu_Data_Display(&PM_Menu);
					}
					Menu_Selection(&PM_Menu,Menu_ESC,Menu_ENT,Menu_Down,Menu_Up,Menu_Reset,Fault_Vector);
					Menu_ESC=0;Menu_ENT=0;Menu_Up=0;Menu_Down=0;
				}
			}
		}
		//----------------------------------------------- Illustrating Manual mode or Tune mode on LCD
		if(Lock_LCD==0 && Tune_Mode==1){
			Lock_LCD=1;
			//LCD_Clear();
			//LCD_Puts(0,0,"Tune Mode...");
    }
    /* USER CODE END WHILE */

  }
}

void SystemClock_Config(void)
{
  RCC_OscInitTypeDef RCC_OscInitStruct = {0};
  RCC_ClkInitTypeDef RCC_ClkInitStruct = {0};

  /** Configure the main internal regulator output voltage
  */
  HAL_PWREx_ControlVoltageScaling(PWR_REGULATOR_VOLTAGE_SCALE1);

  /** Initializes the RCC Oscillators according to the specified parameters
  * in the RCC_OscInitTypeDef structure.
  */
  RCC_OscInitStruct.OscillatorType = RCC_OSCILLATORTYPE_HSI;
  RCC_OscInitStruct.HSIState = RCC_HSI_ON;
  RCC_OscInitStruct.HSIDiv = RCC_HSI_DIV1;
  RCC_OscInitStruct.HSICalibrationValue = RCC_HSICALIBRATION_DEFAULT;
  RCC_OscInitStruct.PLL.PLLState = RCC_PLL_ON;
  RCC_OscInitStruct.PLL.PLLSource = RCC_PLLSOURCE_HSI;
  RCC_OscInitStruct.PLL.PLLM = RCC_PLLM_DIV1;
  RCC_OscInitStruct.PLL.PLLN = 8;
  RCC_OscInitStruct.PLL.PLLP = RCC_PLLP_DIV2;
  RCC_OscInitStruct.PLL.PLLR = RCC_PLLR_DIV2;
  if (HAL_RCC_OscConfig(&RCC_OscInitStruct) != HAL_OK)
  {
    Error_Handler();
  }

  /** Initializes the CPU, AHB and APB buses clocks
  */
  RCC_ClkInitStruct.ClockType = RCC_CLOCKTYPE_HCLK|RCC_CLOCKTYPE_SYSCLK
                              |RCC_CLOCKTYPE_PCLK1;
  RCC_ClkInitStruct.SYSCLKSource = RCC_SYSCLKSOURCE_PLLCLK;
  RCC_ClkInitStruct.AHBCLKDivider = RCC_SYSCLK_DIV1;
  RCC_ClkInitStruct.APB1CLKDivider = RCC_HCLK_DIV1;

  if (HAL_RCC_ClockConfig(&RCC_ClkInitStruct, FLASH_LATENCY_2) != HAL_OK)
  {
    Error_Handler();
  }
}

static void MX_TIM1_Init(void)
{

  TIM_ClockConfigTypeDef sClockSourceConfig = {0};
  TIM_MasterConfigTypeDef sMasterConfig = {0};

  htim1.Instance = TIM1;
  htim1.Init.Prescaler = 999;
  htim1.Init.CounterMode = TIM_COUNTERMODE_UP;
  htim1.Init.Period = 6399;
  htim1.Init.ClockDivision = TIM_CLOCKDIVISION_DIV1;
  htim1.Init.RepetitionCounter = 0;
  htim1.Init.AutoReloadPreload = TIM_AUTORELOAD_PRELOAD_ENABLE;
  if (HAL_TIM_Base_Init(&htim1) != HAL_OK)
  {
    Error_Handler();
  }
  sClockSourceConfig.ClockSource = TIM_CLOCKSOURCE_INTERNAL;
  if (HAL_TIM_ConfigClockSource(&htim1, &sClockSourceConfig) != HAL_OK)
  {
    Error_Handler();
  }
  sMasterConfig.MasterOutputTrigger = TIM_TRGO_RESET;
  sMasterConfig.MasterOutputTrigger2 = TIM_TRGO2_RESET;
  sMasterConfig.MasterSlaveMode = TIM_MASTERSLAVEMODE_DISABLE;
  if (HAL_TIMEx_MasterConfigSynchronization(&htim1, &sMasterConfig) != HAL_OK)
  {
    Error_Handler();
  }

}

static void MX_TIM14_Init(void)
{

  htim14.Instance = TIM14;
  htim14.Init.Prescaler = 999;
  htim14.Init.CounterMode = TIM_COUNTERMODE_UP;
  htim14.Init.Period = 6399;
  htim14.Init.ClockDivision = TIM_CLOCKDIVISION_DIV1;
  htim14.Init.AutoReloadPreload = TIM_AUTORELOAD_PRELOAD_ENABLE;
  if (HAL_TIM_Base_Init(&htim14) != HAL_OK)
  {
    Error_Handler();
  }

}

static void MX_USART1_UART_Init(void)
{

  huart1.Instance = USART1;
  huart1.Init.BaudRate = 9600;
  huart1.Init.WordLength = UART_WORDLENGTH_8B;
  huart1.Init.StopBits = UART_STOPBITS_1;
  huart1.Init.Parity = UART_PARITY_NONE;
  huart1.Init.Mode = UART_MODE_TX_RX;
  huart1.Init.HwFlowCtl = UART_HWCONTROL_NONE;
  huart1.Init.OverSampling = UART_OVERSAMPLING_16;
  huart1.Init.OneBitSampling = UART_ONE_BIT_SAMPLE_DISABLE;
  huart1.Init.ClockPrescaler = UART_PRESCALER_DIV1;
  huart1.AdvancedInit.AdvFeatureInit = UART_ADVFEATURE_NO_INIT;
  if (HAL_UART_Init(&huart1) != HAL_OK)
  {
    Error_Handler();
  }
  if (HAL_UARTEx_SetTxFifoThreshold(&huart1, UART_TXFIFO_THRESHOLD_1_8) != HAL_OK)
  {
    Error_Handler();
  }
  if (HAL_UARTEx_SetRxFifoThreshold(&huart1, UART_RXFIFO_THRESHOLD_1_8) != HAL_OK)
  {
    Error_Handler();
  }
  if (HAL_UARTEx_DisableFifoMode(&huart1) != HAL_OK)
  {
    Error_Handler();
  }

}

static void MX_GPIO_Init(void)
{
  GPIO_InitTypeDef GPIO_InitStruct = {0};

  /* GPIO Ports Clock Enable */
  __HAL_RCC_GPIOA_CLK_ENABLE();
  __HAL_RCC_GPIOB_CLK_ENABLE();
  __HAL_RCC_GPIOC_CLK_ENABLE();

  /*Configure GPIO pin Output Level */
  HAL_GPIO_WritePin(GPIOA, DP_SEG_Pin|G_SEG_Pin|F_SEG_Pin|E_SEG_Pin
                          |D_SEG_Pin|C_SEG_Pin|B_SEG_Pin|A_SEG_Pin
                          |D1_Pin|D4_Pin, GPIO_PIN_RESET);

  /*Configure GPIO pin Output Level */
  HAL_GPIO_WritePin(GPIOB, D2_Pin|LED_Select_Pin|D3_Pin, GPIO_PIN_RESET);

  /*Configure GPIO pins : DP_SEG_Pin G_SEG_Pin F_SEG_Pin E_SEG_Pin
                           D_SEG_Pin C_SEG_Pin B_SEG_Pin D1_Pin
                           D4_Pin */
  GPIO_InitStruct.Pin = DP_SEG_Pin|G_SEG_Pin|F_SEG_Pin|E_SEG_Pin
                          |D_SEG_Pin|C_SEG_Pin|B_SEG_Pin|D1_Pin
                          |D4_Pin;
  GPIO_InitStruct.Mode = GPIO_MODE_OUTPUT_PP;
  GPIO_InitStruct.Pull = GPIO_NOPULL;
  GPIO_InitStruct.Speed = GPIO_SPEED_FREQ_LOW;
  HAL_GPIO_Init(GPIOA, &GPIO_InitStruct);

  /*Configure GPIO pin : A_SEG_Pin */
  GPIO_InitStruct.Pin = A_SEG_Pin;
  GPIO_InitStruct.Mode = GPIO_MODE_OUTPUT_OD;
  GPIO_InitStruct.Pull = GPIO_NOPULL;
  GPIO_InitStruct.Speed = GPIO_SPEED_FREQ_HIGH;
  HAL_GPIO_Init(A_SEG_GPIO_Port, &GPIO_InitStruct);

  /*Configure GPIO pins : Down_Key_Pin ENT_Key_Pin RST_Key_Pin */
  GPIO_InitStruct.Pin = Down_Key_Pin|ENT_Key_Pin|RST_Key_Pin;
  GPIO_InitStruct.Mode = GPIO_MODE_IT_FALLING;
  GPIO_InitStruct.Pull = GPIO_NOPULL;
  HAL_GPIO_Init(GPIOB, &GPIO_InitStruct);

  /*Configure GPIO pin : Up_Key_Pin */
  GPIO_InitStruct.Pin = Up_Key_Pin;
  GPIO_InitStruct.Mode = GPIO_MODE_IT_FALLING;
  GPIO_InitStruct.Pull = GPIO_PULLUP;
  HAL_GPIO_Init(Up_Key_GPIO_Port, &GPIO_InitStruct);

  /*Configure GPIO pin : ESC_Key_Pin */
  GPIO_InitStruct.Pin = ESC_Key_Pin;
  GPIO_InitStruct.Mode = GPIO_MODE_IT_FALLING;
  GPIO_InitStruct.Pull = GPIO_NOPULL;
  HAL_GPIO_Init(ESC_Key_GPIO_Port, &GPIO_InitStruct);

  /*Configure GPIO pin : CD_Key_Pin */
  GPIO_InitStruct.Pin = CD_Key_Pin;
  GPIO_InitStruct.Mode = GPIO_MODE_IT_FALLING;
  GPIO_InitStruct.Pull = GPIO_PULLUP;
  HAL_GPIO_Init(CD_Key_GPIO_Port, &GPIO_InitStruct);

  /*Configure GPIO pins : D2_Pin LED_Select_Pin D3_Pin */
  GPIO_InitStruct.Pin = D2_Pin|LED_Select_Pin|D3_Pin;
  GPIO_InitStruct.Mode = GPIO_MODE_OUTPUT_PP;
  GPIO_InitStruct.Pull = GPIO_NOPULL;
  GPIO_InitStruct.Speed = GPIO_SPEED_FREQ_LOW;
  HAL_GPIO_Init(GPIOB, &GPIO_InitStruct);

  /*Configure GPIO pin : OD_Key_Pin */
  GPIO_InitStruct.Pin = OD_Key_Pin;
  GPIO_InitStruct.Mode = GPIO_MODE_IT_FALLING;
  GPIO_InitStruct.Pull = GPIO_PULLUP;
  HAL_GPIO_Init(OD_Key_GPIO_Port, &GPIO_InitStruct);

  /*Configure GPIO pin : PB8 */
  GPIO_InitStruct.Pin = GPIO_PIN_8;
  GPIO_InitStruct.Mode = GPIO_MODE_AF_OD;
  GPIO_InitStruct.Pull = GPIO_NOPULL;
  GPIO_InitStruct.Speed = GPIO_SPEED_FREQ_LOW;
  GPIO_InitStruct.Alternate = GPIO_AF6_I2C1;
  HAL_GPIO_Init(GPIOB, &GPIO_InitStruct);

  /* EXTI interrupt init*/
  HAL_NVIC_SetPriority(EXTI0_1_IRQn, 1, 0);
  HAL_NVIC_EnableIRQ(EXTI0_1_IRQn);

  HAL_NVIC_SetPriority(EXTI2_3_IRQn, 1, 0);
  HAL_NVIC_EnableIRQ(EXTI2_3_IRQn);

  HAL_NVIC_SetPriority(EXTI4_15_IRQn, 1, 0);
  HAL_NVIC_EnableIRQ(EXTI4_15_IRQn);

}

void Error_Handler(void)
{
  __disable_irq();
  while (1)
  {
  }
}
